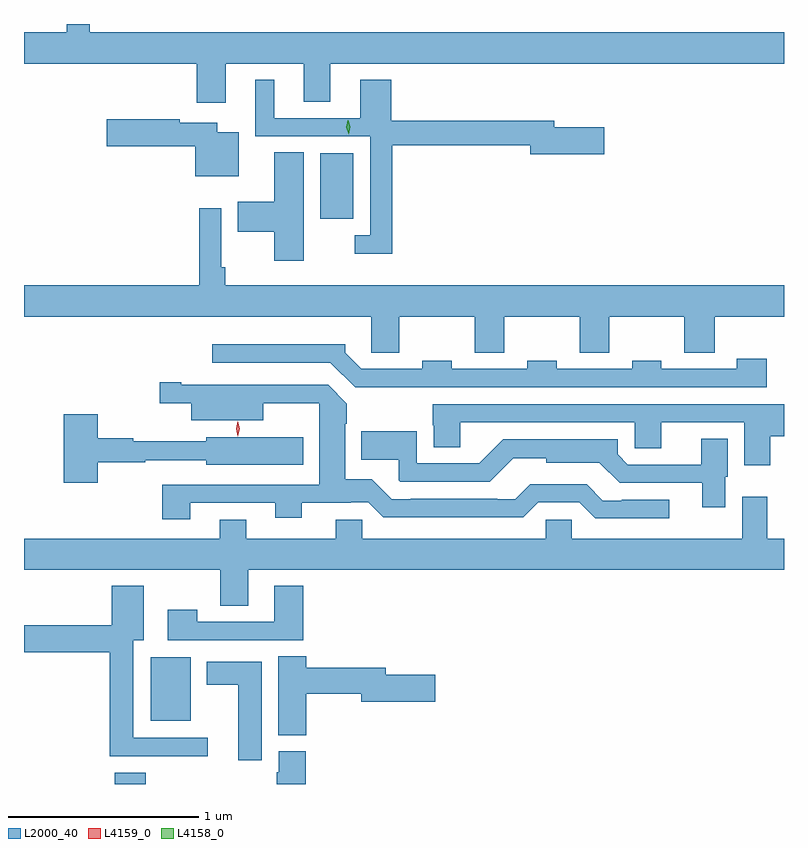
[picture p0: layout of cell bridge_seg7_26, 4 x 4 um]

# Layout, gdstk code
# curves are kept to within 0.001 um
import gdstk
lib = gdstk.Library(unit=1e-6, precision=1e-09)
def R(c, l, rs):  # rectangles x0, y0, x1, y1
    for r in rs: c.add(gdstk.rectangle(r[:2], r[2:], *l))
def P(c, l, *ps):  # polygons
    for p in ps: c.add(gdstk.Polygon(p, *l))
L2000_40 = (2000, 40)
L4158_0 = (4158, 0)
L4159_0 = (4159, 0)

bridge_seg7_26 = lib.new_cell('bridge_seg7_26')
R(bridge_seg7_26, L2000_40, [(1044.497,1076.744,1044.662,1076.803), (1044.686,1077.077,1044.898,1077.412), (1045.58,1079.72,1045.753,1080.064)])
P(bridge_seg7_26, L2000_40, [(1045.081,1080.536),(1045.493,1080.536),(1045.493,1080.334),(1045.633,1080.334),(1045.633,1080.536),(1048.02,1080.536),(1048.02,1080.7),(1044.367,1080.7),(1044.367,1080.744),(1044.245,1080.744),(1044.245,1080.7),(1044.02,1080.7),(1044.02,1080.536),(1044.929,1080.536),(1044.929,1080.33),(1045.081,1080.33)],
  [(1045.958,1080.106),(1046.684,1080.106),(1046.684,1080.059),(1047.073,1080.059),(1047.073,1080.201),(1046.812,1080.201),(1046.812,1080.235),(1045.952,1080.235),(1045.952,1080.451),(1045.79,1080.451),(1045.79,1080.249),(1045.336,1080.249),(1045.336,1080.451),(1045.238,1080.451),(1045.238,1080.153),(1045.842,1080.153),(1045.842,1079.631),(1045.761,1079.631),(1045.761,1079.534),(1045.958,1079.534)],
  [(1045.15,1080.175),(1045.036,1080.175),(1045.036,1080.223),(1044.84,1080.223),(1044.84,1080.243),(1044.456,1080.243),(1044.456,1080.101),(1044.92,1080.101),(1044.92,1079.942),(1045.15,1079.942)],
  [(1045.492,1080.068),(1045.337,1080.068),(1045.337,1079.809),(1045.144,1079.809),(1045.144,1079.651),(1045.337,1079.651),(1045.337,1079.499),(1045.492,1079.499)],
  [(1045.995,1079.204),(1046.392,1079.204),(1046.392,1079.014),(1046.547,1079.014),(1046.547,1079.204),(1046.944,1079.204),(1046.944,1079.014),(1047.099,1079.014),(1047.099,1079.204),(1047.496,1079.204),(1047.496,1079.014),(1047.656,1079.014),(1047.656,1079.204),(1048.02,1079.204),(1048.02,1079.368),(1045.079,1079.368),(1045.079,1079.464),(1045.059,1079.464),(1045.059,1079.773),(1044.943,1079.773),(1044.943,1079.368),(1044.02,1079.368),(1044.02,1079.204),(1045.848,1079.204),(1045.848,1079.014),(1045.995,1079.014)],
  [(1046.127,1078.833),(1047.928,1078.833),(1047.928,1078.981),(1047.772,1078.981),(1047.772,1078.929),(1047.375,1078.929),(1047.375,1078.972),(1047.22,1078.972),(1047.22,1078.929),(1046.823,1078.929),(1046.823,1078.972),(1046.668,1078.972),(1046.668,1078.929),(1046.271,1078.929),(1046.271,1078.972),(1046.116,1078.972),(1046.116,1078.929),(1045.794,1078.929),(1045.71,1079.013),(1045.71,1079.059),(1045.011,1079.059),(1045.011,1078.962),(1045.632,1078.962),(1045.764,1078.831),(1046.127,1078.831)],
  [(1044.895,1078.224),(1045.343,1078.224),(1045.343,1078.145),(1045.483,1078.145),(1045.483,1078.224),(1045.739,1078.224),(1045.739,1078.227),(1045.833,1078.227),(1045.912,1078.148),(1046.648,1078.148),(1046.727,1078.227),(1046.943,1078.227),(1047.027,1078.143),(1047.415,1078.143),(1047.415,1078.239),(1047.166,1078.239),(1047.166,1078.236),(1047.067,1078.236),(1046.982,1078.321),(1046.684,1078.321),(1046.605,1078.242),(1046.51,1078.242),(1046.51,1078.245),(1046.056,1078.245),(1046.056,1078.242),(1045.956,1078.242),(1045.85,1078.348),(1045.711,1078.348),(1045.711,1078.64),(1045.719,1078.64),(1045.719,1078.746),(1045.62,1078.845),(1044.847,1078.846),(1044.847,1078.858),(1044.735,1078.858),(1044.735,1078.748),(1044.899,1078.748),(1044.899,1078.658),(1045.279,1078.658),(1045.279,1078.748),(1045.574,1078.748),(1045.574,1078.32),(1044.748,1078.32),(1044.748,1078.137),(1044.895,1078.137)],
  [(1047.947,1078.574),(1048.02,1078.574),(1048.02,1078.743),(1046.17,1078.743),(1046.17,1078.632),(1046.177,1078.632),(1046.177,1078.516),(1046.317,1078.516),(1046.317,1078.647),(1047.234,1078.647),(1047.234,1078.512),(1047.373,1078.512),(1047.373,1078.647),(1047.812,1078.647),(1047.812,1078.422),(1047.947,1078.422)],
  [(1044.408,1078.437),(1044.659,1078.437),(1044.659,1078.449),(1044.978,1078.449),(1044.978,1078.424),(1045.489,1078.424),(1045.489,1078.57),(1044.978,1078.57),(1044.978,1078.547),(1044.596,1078.547),(1044.596,1078.565),(1044.408,1078.565),(1044.408,1078.69),(1044.23,1078.69),(1044.23,1078.329),(1044.408,1078.329)],
  [(1047.712,1078.362),(1047.724,1078.362),(1047.724,1078.562),(1047.584,1078.562),(1047.584,1078.425),(1047.198,1078.425),(1047.144,1078.479),(1047.144,1078.558),(1046.542,1078.558),(1046.415,1078.431),(1046.088,1078.431),(1046.088,1078.6),(1045.796,1078.6),(1045.796,1078.451),(1045.992,1078.451),(1045.992,1078.344),(1046.001,1078.335),(1046.472,1078.335),(1046.595,1078.458),(1046.769,1078.458),(1046.769,1078.436),(1047.048,1078.436),(1047.155,1078.329),(1047.59,1078.329),(1047.59,1078.2),(1047.712,1078.2)],
  [(1045.201,1077.872),(1048.02,1077.872),(1048.02,1078.036),(1047.932,1078.036),(1047.932,1078.255),(1047.8,1078.255),(1047.8,1078.036),(1046.904,1078.036),(1046.904,1078.134),(1046.766,1078.134),(1046.766,1078.036),(1045.8,1078.036),(1045.8,1078.134),(1045.661,1078.134),(1045.661,1078.036),(1045.189,1078.036),(1045.189,1078.135),(1045.049,1078.135),(1045.049,1078.036),(1044.02,1078.036),(1044.02,1077.872),(1045.054,1077.872),(1045.054,1077.682),(1045.201,1077.682)],
  [(1044.988,1076.988),(1044.595,1076.988),(1044.595,1077.5),(1044.649,1077.5),(1044.649,1077.787),(1044.482,1077.787),(1044.482,1077.579),(1044.02,1077.579),(1044.02,1077.437),(1044.47,1077.437),(1044.47,1076.891),(1044.988,1076.891)],
  [(1045.49,1077.787),(1045.337,1077.787),(1045.337,1077.597),(1044.933,1077.597),(1044.933,1077.661),(1044.777,1077.661),(1044.777,1077.501),(1045.49,1077.501)],
  [(1045.505,1077.22),(1045.796,1077.22),(1045.796,1077.178),(1046.185,1077.178),(1046.185,1077.32),(1045.924,1077.32),(1045.924,1077.356),(1045.505,1077.356),(1045.505,1077.416),(1045.358,1077.416),(1045.358,1077.001),(1045.505,1077.001)],
  [(1045.27,1077.388),(1044.983,1077.388),(1044.983,1077.266),(1045.148,1077.266),(1045.148,1076.868),(1045.27,1076.868)],
  [(1045.502,1076.916),(1045.361,1076.916),(1045.361,1076.805),(1045.349,1076.805),(1045.349,1076.744),(1045.502,1076.744)])
P(bridge_seg7_26, L4158_0, [(1045.728,1080.165),(1045.728,1080.165),(1045.717,1080.201),(1045.725,1080.237),(1045.726,1080.237),(1045.726,1080.237),(1045.737,1080.202),(1045.729,1080.165)])
P(bridge_seg7_26, L4159_0, [(1045.146,1078.573),(1045.146,1078.573),(1045.136,1078.613),(1045.146,1078.654),(1045.146,1078.654),(1045.146,1078.654),(1045.156,1078.613),(1045.146,1078.573)])

lib.write_gds('bridge_seg7_26.gds')
